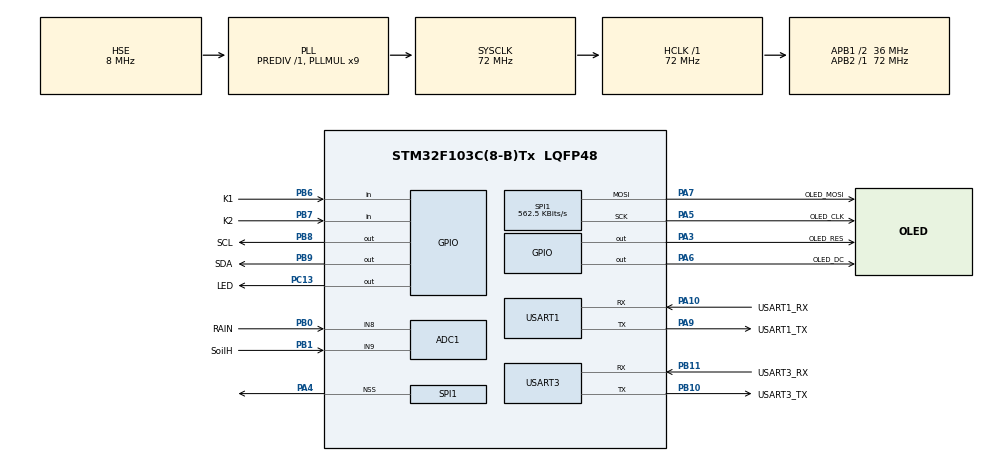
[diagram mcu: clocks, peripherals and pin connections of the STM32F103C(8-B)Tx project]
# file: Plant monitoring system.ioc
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ADC1.Channel-0\#ChannelRegularConversion=ADC_CHANNEL_8
ADC1.NbrOfConversionFlag=1
ADC1.Rank-0\#ChannelRegularConversion=1
ADC1.SamplingTime-0\#ChannelRegularConversion=ADC_SAMPLETIME_1CYCLE_5
ADC1.master=1
Mcu.Family=STM32F1
Mcu.Name=STM32F103C(8-B)Tx
Mcu.Package=LQFP48
NVIC.PriorityGroup=NVIC_PRIORITYGROUP_4
NVIC.USART1_IRQn=true\:0\:0\:false\:false\:true\:true\:true\:true
NVIC.USART3_IRQn=true\:0\:0\:false\:false\:true\:true\:true\:true
PA10.GPIO_Label=USART1_RX
PA10.GPIO_PuPd=GPIO_PULLUP
PA10.Mode=Asynchronous
PA10.Signal=USART1_RX
PA13.Mode=Serial_Wire
PA13.Signal=SYS_JTMS-SWDIO
PA14.Mode=Serial_Wire
PA14.Signal=SYS_JTCK-SWCLK
PA3.GPIO_Label=OLED_RES
PA3.GPIO_PuPd=GPIO_NOPULL
PA3.GPIO_Speed=GPIO_SPEED_FREQ_HIGH
PA3.PinState=GPIO_PIN_SET
PA3.Signal=GPIO_Output
PA4.Mode=NSS_Signal_Hard_Output
PA4.Signal=SPI1_NSS
PA5.GPIO_Label=OLED_CLK
PA5.Mode=TX_Only_Simplex_Unidirect_Master
PA5.Signal=SPI1_SCK
PA6.GPIO_Label=OLED_DC
PA6.GPIO_Speed=GPIO_SPEED_FREQ_HIGH
PA6.Signal=GPIO_Output
PA7.GPIO_Label=OLED_MOSI
PA7.Mode=TX_Only_Simplex_Unidirect_Master
PA7.Signal=SPI1_MOSI
PA9.GPIO_Label=USART1_TX
PA9.Mode=Asynchronous
PA9.Signal=USART1_TX
PB0.GPIO_Label=RAIN
PB0.Signal=ADCx_IN8
PB1.GPIO_Label=SoilH
PB1.Signal=ADCx_IN9
PB10.GPIO_Label=USART3_TX
PB10.GPIO_Speed=GPIO_SPEED_FREQ_HIGH
PB10.Mode=Asynchronous
PB10.Signal=USART3_TX
PB11.GPIO_Label=USART3_RX
PB11.GPIO_PuPd=GPIO_PULLUP
PB11.Mode=Asynchronous
PB11.Signal=USART3_RX
PB6.GPIO_Label=K1
PB6.GPIO_PuPd=GPIO_PULLUP
PB6.Signal=GPIO_Input
PB7.GPIO_Label=K2
PB7.GPIO_PuPd=GPIO_PULLUP
PB7.Signal=GPIO_Input
PB8.GPIO_Label=SCL
PB8.GPIO_ModeDefaultOutputPP=GPIO_MODE_OUTPUT_OD
PB8.GPIO_PuPd=GPIO_PULLUP
PB8.GPIO_Speed=GPIO_SPEED_FREQ_HIGH
PB8.PinState=GPIO_PIN_SET
PB8.Signal=GPIO_Output
PB9.GPIO_Label=SDA
PB9.GPIO_ModeDefaultOutputPP=GPIO_MODE_OUTPUT_OD
PB9.GPIO_PuPd=GPIO_PULLUP
PB9.GPIO_Speed=GPIO_SPEED_FREQ_HIGH
PB9.PinState=GPIO_PIN_SET
PB9.Signal=GPIO_Output
PC13-TAMPER-RTC.GPIO_Label=LED
PC13-TAMPER-RTC.GPIO_ModeDefaultOutputPP=GPIO_MODE_OUTPUT_PP
PC13-TAMPER-RTC.GPIO_PuPd=GPIO_PULLUP
PC13-TAMPER-RTC.GPIO_Speed=GPIO_SPEED_FREQ_HIGH
PC13-TAMPER-RTC.PinState=GPIO_PIN_SET
PC13-TAMPER-RTC.Signal=GPIO_Output
PC14-OSC32_IN.Mode=LSE-External-Oscillator
PC14-OSC32_IN.Signal=RCC_OSC32_IN
PC15-OSC32_OUT.Mode=LSE-External-Oscillator
PC15-OSC32_OUT.Signal=RCC_OSC32_OUT
PD0-OSC_IN.Mode=HSE-External-Oscillator
PD0-OSC_IN.Signal=RCC_OSC_IN
PD1-OSC_OUT.Mode=HSE-External-Oscillator
PD1-OSC_OUT.Signal=RCC_OSC_OUT
ProjectManager.HeapSize=0x200
ProjectManager.StackSize=0x400
ProjectManager.TargetToolchain=MDK-ARM V5.32
RCC.ADCPresc=RCC_ADCPCLK2_DIV6
RCC.AHBFreq_Value=72000000
RCC.APB1CLKDivider=RCC_HCLK_DIV2
RCC.APB1Freq_Value=36000000
RCC.APB1TimFreq_Value=72000000
RCC.APB2Freq_Value=72000000
RCC.APB2TimFreq_Value=72000000
RCC.HCLKFreq_Value=72000000
RCC.PLLMUL=RCC_PLL_MUL9
RCC.PLLSourceVirtual=RCC_PLLSOURCE_HSE
RCC.SYSCLKFreq_VALUE=72000000
RCC.SYSCLKSource=RCC_SYSCLKSOURCE_PLLCLK
RCC.USBFreq_Value=72000000
SH.ADCx_IN8.0=ADC1_IN8,IN8
SH.ADCx_IN9.0=ADC1_IN9,IN9
SPI1.BaudRatePrescaler=SPI_BAUDRATEPRESCALER_128
SPI1.CLKPolarity=SPI_POLARITY_LOW
SPI1.CalculateBaudRate=562.5 KBits/s
SPI1.Direction=SPI_DIRECTION_2LINES
SPI1.Mode=SPI_MODE_MASTER
SPI1.VirtualNSS=VM_NSSHARD
SPI1.VirtualType=VM_MASTER
USART1.VirtualMode=VM_ASYNC
USART3.VirtualMode=VM_ASYNC
board=custom

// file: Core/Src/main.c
/* USER CODE BEGIN Header */
/**
  ******************************************************************************
  * @file           : main.c
  * @brief          : Main program body
  ******************************************************************************
  * @attention
  *
  * Copyright (c) 2025 STMicroelectronics.
  * All rights reserved.
  *
  * This software is licensed under terms that can be found in the LICENSE file
  * in the root directory of this software component.
  * If no LICENSE file comes with this software, it is provided AS-IS.
  *
  ******************************************************************************
  */
/* USER CODE END Header */
#include "main.h"
#include "adc.h"
#include "spi.h"
#include "usart.h"
#include "gpio.h"

/* USER CODE BEGIN Includes */
#include "LED.h"
#include "KEY.h"
#include "driver_usart.h"
#include <stdio.h>
#include "OLED.h"
#include "driver_i2c.h"
#include "bh1750.h"

/* USER CODE END Includes */

void SystemClock_Config(void);

/* USER CODE BEGIN 0 */
ring_buffer test_buffer;
char buf[] = "halloworld";
float lux = 0;

/* USER CODE END 0 */

int main(void)
{

  /* MCU Configuration--------------------------------------------------------*/

  /* Reset of all peripherals, Initializes the Flash interface and the Systick. */
  HAL_Init();

  /* Configure the system clock */
  SystemClock_Config();

  /* Initialize all configured peripherals */
  MX_GPIO_Init();
  MX_SPI1_Init();
  MX_USART1_UART_Init();
  MX_USART3_UART_Init();
  MX_ADC1_Init();
  /* USER CODE BEGIN 2 */
	OLED_Init();
	I2C_GPIO_ReInit();
	BH1750_Init();

	//OLED_Clear();
	OLED_PutChar(0, 0, 'A');
	OLED_PutChar(0, 16, 'Y');
	OLED_PutChar(0,1,'A');
	OLED_PrintString(2, 0, "Hello World!");

  /* USER CODE END 2 */

  /* Infinite loop */
  while (1)
  {

    /* USER CODE BEGIN 3 */

	lux = BH1750_ReadLightLevel();
	printf("illumination intensity= %.2f lx\r\n",lux);
	 HAL_Delay(1000);

  }
  /* USER CODE END 3 */
}

void SystemClock_Config(void)
{
  RCC_OscInitTypeDef RCC_OscInitStruct = {0};
  RCC_ClkInitTypeDef RCC_ClkInitStruct = {0};
  RCC_PeriphCLKInitTypeDef PeriphClkInit = {0};

  /** Initializes the RCC Oscillators according to the specified parameters
  * in the RCC_OscInitTypeDef structure.
  */
  RCC_OscInitStruct.OscillatorType = RCC_OSCILLATORTYPE_HSE;
  RCC_OscInitStruct.HSEState = RCC_HSE_ON;
  RCC_OscInitStruct.HSEPredivValue = RCC_HSE_PREDIV_DIV1;
  RCC_OscInitStruct.HSIState = RCC_HSI_ON;
  RCC_OscInitStruct.PLL.PLLState = RCC_PLL_ON;
  RCC_OscInitStruct.PLL.PLLSource = RCC_PLLSOURCE_HSE;
  RCC_OscInitStruct.PLL.PLLMUL = RCC_PLL_MUL9;
  if (HAL_RCC_OscConfig(&RCC_OscInitStruct) != HAL_OK)
  {
    Error_Handler();
  }

  /** Initializes the CPU, AHB and APB buses clocks
  */
  RCC_ClkInitStruct.ClockType = RCC_CLOCKTYPE_HCLK|RCC_CLOCKTYPE_SYSCLK
                              |RCC_CLOCKTYPE_PCLK1|RCC_CLOCKTYPE_PCLK2;
  RCC_ClkInitStruct.SYSCLKSource = RCC_SYSCLKSOURCE_PLLCLK;
  RCC_ClkInitStruct.AHBCLKDivider = RCC_SYSCLK_DIV1;
  RCC_ClkInitStruct.APB1CLKDivider = RCC_HCLK_DIV2;
  RCC_ClkInitStruct.APB2CLKDivider = RCC_HCLK_DIV1;

  if (HAL_RCC_ClockConfig(&RCC_ClkInitStruct, FLASH_LATENCY_2) != HAL_OK)
  {
    Error_Handler();
  }
  PeriphClkInit.PeriphClockSelection = RCC_PERIPHCLK_ADC;
  PeriphClkInit.AdcClockSelection = RCC_ADCPCLK2_DIV6;
  if (HAL_RCCEx_PeriphCLKConfig(&PeriphClkInit) != HAL_OK)
  {
    Error_Handler();
  }
}

void Error_Handler(void)
{
  __disable_irq();
  while (1)
  {
  }
}
